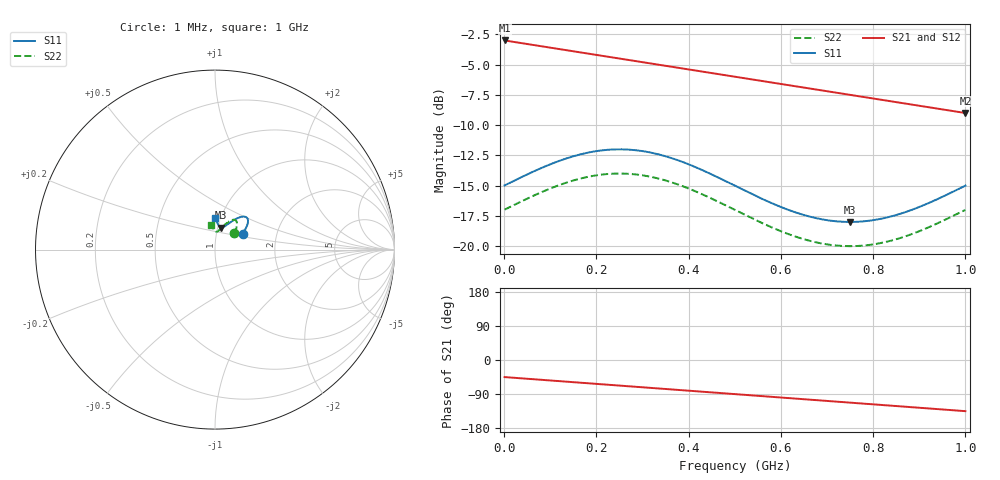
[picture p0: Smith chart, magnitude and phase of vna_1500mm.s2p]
! Synthetic S2P fixture: vna_1500mm.s2p
! Generated for testing purposes
# MHZ S DB R 50
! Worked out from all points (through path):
!   201 points, 1 MHz to 1 GHz, reference 50 ohm
!   highest |S21| = -3.01 dB at 1 MHz (marker M1); lowest = -9.0 dB at 1 GHz (marker M2)
!   lowest |S11| = -18.0 dB at 750.2 MHz (marker M3), VSWR 1.29, Z = 51.8 + j12.8 ohm
!   |S11| at or under -10 dB: start of sweep to end of sweep
!   |S22| runs from -20.0 to -14.0 dB; largest |S21 - S12| = 0
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1  -14.98 30.1  -3.01 -45.1  -3.01 -45.1  -16.98 40.1
45.955  -14.15 32.8  -3.28 -49.1  -3.28 -49.1  -16.15 42.8
95.905  -13.30 35.8  -3.58 -53.6  -3.58 -53.6  -15.30 45.8
135.865  -12.74 38.2  -3.82 -57.2  -3.82 -57.2  -14.74 48.2
170.83  -12.36 40.2  -4.03 -60.4  -4.03 -60.4  -14.36 50.2
210.79  -12.09 42.6  -4.26 -64.0  -4.26 -64.0  -14.09 52.6
250.75  -12.00 45.0  -4.50 -67.6  -4.50 -67.6  -14.00 55.0
290.71  -12.10 47.4  -4.74 -71.2  -4.74 -71.2  -14.10 57.4
335.665  -12.42 50.1  -5.01 -75.2  -5.01 -75.2  -14.42 60.1
370.63  -12.82 52.2  -5.22 -78.4  -5.22 -78.4  -14.82 62.2
405.595  -13.32 54.3  -5.43 -81.5  -5.43 -81.5  -15.32 64.3
500.5  -15.01 60.0  -6.00 -90.0  -6.00 -90.0  -17.01 70.0
595.405  -16.69 65.7  -6.57 -98.6  -6.57 -98.6  -18.69 75.7
635.365  -17.25 68.1  -6.81 -102.2  -6.81 -102.2  -19.25 78.1
670.33  -17.63 70.2  -7.02 -105.3  -7.02 -105.3  -19.63 80.2
710.29  -17.91 72.6  -7.26 -108.9  -7.26 -108.9  -19.91 82.6
750.25  -18.00 75.0  -7.50 -112.5  -7.50 -112.5  -20.00 85.0
790.21  -17.90 77.4  -7.74 -116.1  -7.74 -116.1  -19.90 87.4
835.165  -17.58 80.1  -8.01 -120.2  -8.01 -120.2  -19.58 90.1
870.13  -17.19 82.2  -8.22 -123.3  -8.22 -123.3  -19.19 92.2
905.095  -16.68 84.3  -8.43 -126.5  -8.43 -126.5  -18.68 94.3
1000  -15.00 90.0  -9.00 -135.0  -9.00 -135.0  -17.00 100.0
